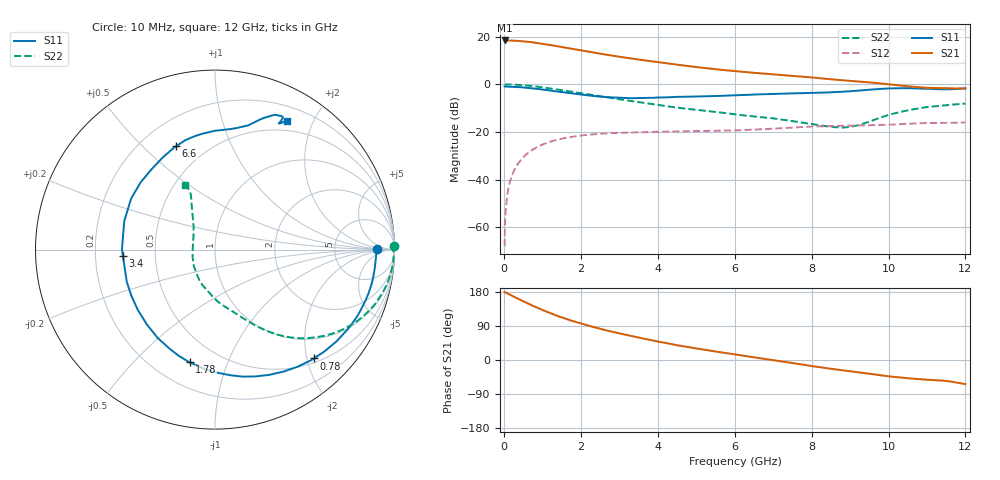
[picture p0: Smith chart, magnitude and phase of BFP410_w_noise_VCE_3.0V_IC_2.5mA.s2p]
! Infineon Technologies  Discrete & RF Semiconductors
! BFP410
! VCE =  3.0 V,  IC =  2.5 mA
! Common Emitter S-Parameters:  Nov 2015
# GHz  S  MA  R  50
!  f  S11  S21  S12  S22
! GHz  MAG  ANG  MAG  ANG  MAG  ANG  MAG  ANG
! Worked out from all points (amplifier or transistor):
!   243 points, 10 MHz to 12 GHz, reference 50 ohm
!   highest |S21| = 18.4 dB at 10 MHz (marker M1)
!   |S21| within 3 dB of that: start of sweep to 1.578 GHz
!   unconditionally stable (mu >= 1): 3.868 GHz to end of sweep
!   at 240 MHz: K = 0.05, MSG = 27.6 dB, |S12| = -36.8 dB
!   at 1.84 GHz: K = 0.42, MSG = 18.3 dB, |S12| = -21.8 dB
!   at 12 GHz: K = 1.12, MAG = 5.0 dB, |S12| = -16.0 dB
!   lowest NFmin = 0.84 dB at 900 MHz
!   S11 on the Smith chart (normalised r, x): 10 MHz: 20, +1; 780 MHz: 0.58, -2.13; 1.78 GHz: 0.35, -0.74; 3.4 GHz: 0.32, -0.03; 6.6 GHz: 0.34, +0.64; 12 GHz: 0.37, +1.64
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0.01  0.9043 0.3  8.361 179.3  0.0004 88.9  1 1.2
0.02  0.9002 -0.7  8.328 179.0  0.0013 87.0  0.9899 0.2
0.045  0.8985 -2.4  8.302 177.3  0.0027 85.4  0.9955 -0.9
0.16  0.8949 -9.8  8.317 171.8  0.0097 84.1  0.9937 -4.8
0.45  0.8699 -27.8  8.09 157.2  0.0269 75.3  0.967 -13.8
0.6  0.8486 -37.0  7.871 149.6  0.0352 70.5  0.9443 -18.4
0.78  0.8189 -47.8  7.547 141.4  0.0445 64.9  0.9114 -23.4
1  0.779 -60.8  7.118 131.7  0.0547 58.6  0.865 -29.2
1.2  0.7418 -72.3  6.704 123.4  0.0628 53.3  0.8209 -33.9
1.42  0.7008 -84.2  6.229 115.0  0.0701 47.7  0.7719 -38.6
1.78  0.6432 -102.6  5.526 102.9  0.0796 40.1  0.6975 -45.1
2.02  0.6082 -114.3  5.113 95.6  0.0846 35.7  0.6512 -48.8
2.64  0.5419 -143.9  4.221 78.6  0.0933 25.8  0.5392 -57.3
3.4  0.5142 -176.1  3.405 61.3  0.0982 17.5  0.4348 -65.7
4.1  0.5306 159.8  2.859 46.8  0.1016 12.1  0.3603 -73.8
5  0.5587 137.9  2.308 30.3  0.1045 6.9  0.2917 -86.6
6.1  0.5928 118.3  1.867 13.3  0.1087 3.3  0.2298 -101.2
6.6  0.6153 110.6  1.722 5.6  0.1129 1.9  0.2079 -110.1
8.2  0.6677 86.6  1.347 -18.8  0.1311 -6.7  0.1379 -152.1
9  0.7165 75.0  1.185 -29.8  0.1353 -11.3  0.1272 163.1
10.2  0.8264 64.8  0.965 -45.1  0.145 -16.7  0.2512 120.4
12  0.8225 60.8  0.819 -63.6  0.1584 -29.9  0.3954 114.8
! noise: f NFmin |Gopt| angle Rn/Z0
0.45  0.88  0.45  7  0.25
0.9  0.84  0.43  20  0.24
1.8  1.06  0.33  53  0.2
2.4  1.09  0.33  62  0.18
5.5  2.15  0.34  -141  0.2
10  3.77  0.69  -55  2.12
